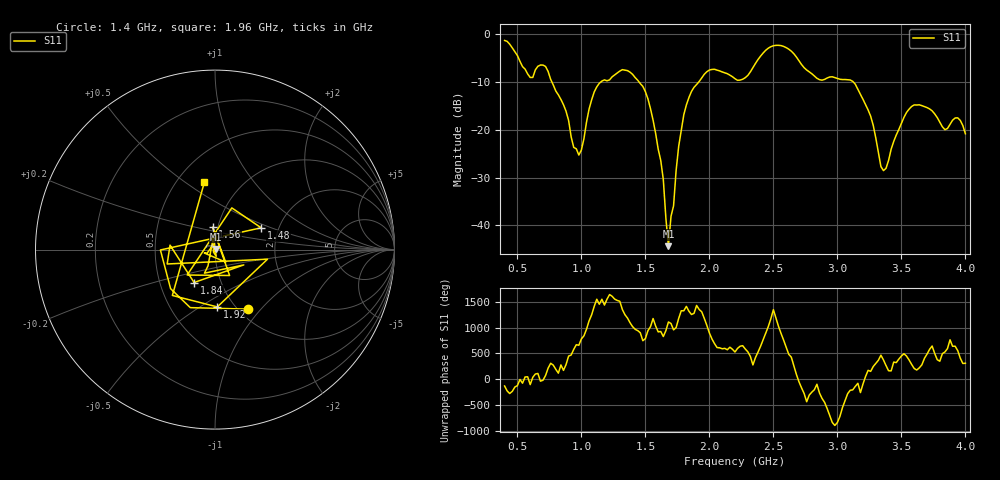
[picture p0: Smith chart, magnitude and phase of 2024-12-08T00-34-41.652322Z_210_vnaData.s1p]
!Created with skrf (http://scikit-rf.org).
# Hz S RI R 50.0
!freq ReS11 ImS11
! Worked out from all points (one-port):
!   181 points, 400 MHz to 4 GHz, reference 50 ohm
!   lowest |S11| = -44.3 dB at 1.68 GHz (marker M1), VSWR 1.01, Z = 50.5 + j0.301 ohm
!   |S11| at or under -10 dB: 769.3 MHz to 1.152 GHz (382.5 MHz wide, 39.8 % of centre); 1.45 GHz to 1.917 GHz (466.8 MHz wide, 27.7 % of centre); 3.124 GHz to end of sweep
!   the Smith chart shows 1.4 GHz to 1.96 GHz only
!   S11 on the Smith chart (normalised r, x): 1.4 GHz: 1.11, -0.86; 1.48 GHz: 1.62, +0.43; 1.56 GHz: 0.94, +0.24; 1.84 GHz: 0.74, -0.29; 1.92 GHz: 0.83, -0.59; 1.96 GHz: 0.68, +0.60
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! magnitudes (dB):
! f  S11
! 400 MHz  -1.3
! 600 MHz  -9.1
! 720 MHz  -6.8
! 860 MHz  -14.8
! 980 MHz  -25.3
! 1.1 GHz  -12.1
! 1.3 GHz  -7.7
! 1.4 GHz  -8.4
! 1.48 GHz  -10.9
! 1.56 GHz  -18.0
! 1.64 GHz  -30.4
! 1.68 GHz  -44.3
! 1.76 GHz  -23.5
! 1.84 GHz  -13.3
! 1.92 GHz  -9.9
! 1.96 GHz  -8.4
! 2.2 GHz  -9.3
! 2.48 GHz  -2.6
! 2.66 GHz  -4.1
! 2.86 GHz  -9.5
! 3.1 GHz  -9.6
! 3.26 GHz  -17.2
! 3.36 GHz  -28.5
! 3.56 GHz  -15.7
! 3.72 GHz  -15.6
! 3.84 GHz  -20.0
! 3.94 GHz  -17.5
! 4 GHz  -20.8
